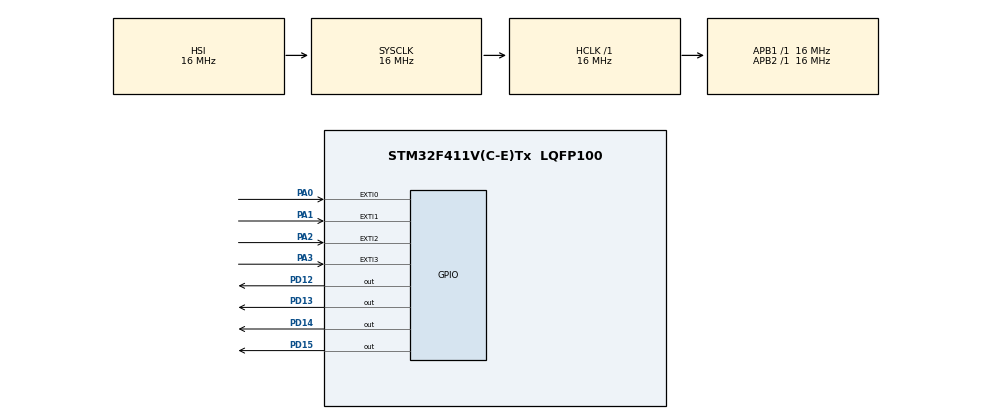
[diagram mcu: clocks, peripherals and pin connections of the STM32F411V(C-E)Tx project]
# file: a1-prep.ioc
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Mcu.Family=STM32F4
Mcu.Name=STM32F411V(C-E)Tx
Mcu.Package=LQFP100
NVIC.EXTI0_IRQn=true\:0\:0\:false\:false\:true\:true\:true
NVIC.EXTI1_IRQn=true\:0\:0\:false\:false\:true\:true\:true
NVIC.EXTI2_IRQn=true\:0\:0\:false\:false\:true\:true\:true
NVIC.EXTI3_IRQn=true\:0\:0\:false\:false\:true\:true\:true
NVIC.PriorityGroup=NVIC_PRIORITYGROUP_4
PA0-WKUP.Signal=GPXTI0
PA1.Signal=GPXTI1
PA2.Signal=GPXTI2
PA3.Signal=GPXTI3
PD12.Signal=GPIO_Output
PD13.Signal=GPIO_Output
PD14.Signal=GPIO_Output
PD15.Signal=GPIO_Output
ProjectManager.HeapSize=0x200
ProjectManager.StackSize=0x400
ProjectManager.TargetToolchain=STM32CubeIDE
RCC.AHBFreq_Value=16000000
RCC.APB1Freq_Value=16000000
RCC.APB2Freq_Value=16000000
RCC.CortexFreq_Value=16000000
RCC.HSE_VALUE=25000000
RCC.HSI_VALUE=16000000
RCC.LSE_VALUE=32768
RCC.SYSCLKFreq_VALUE=16000000
RCC.VCOOutputFreq_Value=192000000
board=custom

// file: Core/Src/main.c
/* USER CODE BEGIN Header */
/**
  ******************************************************************************
  * @file           : main.c
  * @brief          : Main program body
  ******************************************************************************
  * @attention
  *
  * <h2><center>&copy; Copyright (c) 2020 STMicroelectronics.
  * All rights reserved.</center></h2>
  *
  * This software component is licensed by ST under BSD 3-Clause license,
  * the "License"; You may not use this file except in compliance with the
  * License. You may obtain a copy of the License at:
  *                        opensource.org/licenses/BSD-3-Clause
  *
  ******************************************************************************
  */
/* USER CODE END Header */

#include "main.h"

/* USER CODE BEGIN Includes */
#include <stdint.h>
/* USER CODE END Includes */

/* USER CODE BEGIN PD */
#define GPIOA_MODER *((uint32_t*)0x40020000)
#define GPIOD_MODER *((uint32_t*)0x40020c00)
/* USER CODE END PD */

void SystemClock_Config(void);
static void MX_GPIO_Init(void);
/* USER CODE BEGIN PFP */
void toggleBitInODR(uint32_t* base_adress, int bitPos);
uint32_t readBitInReg(uint32_t* reg_adress, int bitPos);
/* USER CODE END PFP */

/* USER CODE BEGIN 0 */

void toggleBitInODR(uint32_t* base_adress, int bitPos)
{
	uint32_t* write_adress = base_adress + 5;
	*write_adress = *(write_adress) ^ (1 << bitPos);
}

uint32_t readBitInReg(uint32_t* reg_adress, int bitPos)
{
	uint32_t bit = (*(reg_adress) >> bitPos) & 0b1;
	return bit;
}

void HAL_GPIO_EXTI_Callback(uint16_t GPIO_Pin)
{
 /* Prevent unused argument(s) compilation warning */
 UNUSED(GPIO_Pin);
 /* NOTE: This function Should not be modified, when the callback is needed,
          the HAL_GPIO_EXTI_Callback could be implemented in the user file
  */

 	 if (GPIO_Pin == GPIO_PIN_0) {
 		 HAL_GPIO_TogglePin(GPIOD, GPIO_PIN_12);
 	 }
 	 else if (GPIO_Pin == GPIO_PIN_1) { // switch off all leds
 		 uint32_t* write_adress = &GPIOD_MODER;
 		 write_adress = write_adress + 5;
 		 *write_adress = *(write_adress) & ~0x0000F000;
 		 //(GPIOD_MODER+5) = (GPIOD_MODER+5) & ~0x0000F000;
 	 }
 	 else if (GPIO_Pin == GPIO_PIN_2) { // turn on all leds
 		 uint32_t* write_adress = &GPIOD_MODER + 5;
 		 *write_adress = *write_adress | 0x0000F000;
 	 }
}

/* USER CODE END 0 */

int main(void)
{

  /* MCU Configuration--------------------------------------------------------*/

  /* Reset of all peripherals, Initializes the Flash interface and the Systick. */
  HAL_Init();

  /* Configure the system clock */
  SystemClock_Config();

  /* Initialize all configured peripherals */
  MX_GPIO_Init();
  /* USER CODE BEGIN 2 */
  // Set the values of a pin
  asm("	LDR r0, =0x40020c14");
  asm("	LDR r1, [r0]");
  asm(" BIC r1, r1, #0x0000F000");
  asm(" ORR r1, r1, #0x0000F000");
  asm(" STR r1, [r0]");
  toggleBitInODR((uint32_t*) GPIOD_BASE, 13);

  // Read the state of a pin
  asm (" LDR r2, =0x40020c14");
  asm (" LDR r3, [r2]"); // read the entire 16-bit port
  asm (" LSR r3, r3, #12"); // move bit 4 to least-significant position
  asm (" AND r3, r3, #1"); // clear all bits except least significant bit

  uint32_t pd12 = readBitInReg((uint32_t*)(GPIOD_BASE + 0x14), 12);

  // ITTE test
  asm (" LDR r2, =0x40020c14");
  asm (" LDR r3, [r2]");
  asm (" MOV r4, #0"); // 1 for on and any other value for off
  asm (" CMP r4, #1");
  asm (" ITE NE");
  asm (" ANDNE r3, r3, #0xFFFF0FFF"); // Turn off leds
  asm (" ORREQ r3, r3, #0x0000F000"); // Turn on leds
  asm (" STR r3, [r2]");

  /* USER CODE END 2 */

  /* Infinite loop */
  while (1)
  {

  }
}

void SystemClock_Config(void)
{
  RCC_OscInitTypeDef RCC_OscInitStruct = {0};
  RCC_ClkInitTypeDef RCC_ClkInitStruct = {0};

  /** Configure the main internal regulator output voltage
  */
  __HAL_RCC_PWR_CLK_ENABLE();
  __HAL_PWR_VOLTAGESCALING_CONFIG(PWR_REGULATOR_VOLTAGE_SCALE1);
  /** Initializes the CPU, AHB and APB busses clocks
  */
  RCC_OscInitStruct.OscillatorType = RCC_OSCILLATORTYPE_HSI;
  RCC_OscInitStruct.HSIState = RCC_HSI_ON;
  RCC_OscInitStruct.HSICalibrationValue = RCC_HSICALIBRATION_DEFAULT;
  RCC_OscInitStruct.PLL.PLLState = RCC_PLL_NONE;
  if (HAL_RCC_OscConfig(&RCC_OscInitStruct) != HAL_OK)
  {
    Error_Handler();
  }
  /** Initializes the CPU, AHB and APB busses clocks
  */
  RCC_ClkInitStruct.ClockType = RCC_CLOCKTYPE_HCLK|RCC_CLOCKTYPE_SYSCLK
                              |RCC_CLOCKTYPE_PCLK1|RCC_CLOCKTYPE_PCLK2;
  RCC_ClkInitStruct.SYSCLKSource = RCC_SYSCLKSOURCE_HSI;
  RCC_ClkInitStruct.AHBCLKDivider = RCC_SYSCLK_DIV1;
  RCC_ClkInitStruct.APB1CLKDivider = RCC_HCLK_DIV1;
  RCC_ClkInitStruct.APB2CLKDivider = RCC_HCLK_DIV1;

  if (HAL_RCC_ClockConfig(&RCC_ClkInitStruct, FLASH_LATENCY_0) != HAL_OK)
  {
    Error_Handler();
  }
}

static void MX_GPIO_Init(void)
{
  GPIO_InitTypeDef GPIO_InitStruct = {0};

  /* GPIO Ports Clock Enable */
  __HAL_RCC_GPIOA_CLK_ENABLE();
  __HAL_RCC_GPIOD_CLK_ENABLE();

  /*Configure GPIO pin Output Level */
  HAL_GPIO_WritePin(GPIOD, GPIO_PIN_12|GPIO_PIN_13|GPIO_PIN_14|GPIO_PIN_15, GPIO_PIN_RESET);

  /*Configure GPIO pins : PA0 PA1 PA2 PA3 */
  GPIO_InitStruct.Pin = GPIO_PIN_0|GPIO_PIN_1|GPIO_PIN_2|GPIO_PIN_3;
  GPIO_InitStruct.Mode = GPIO_MODE_IT_RISING;
  GPIO_InitStruct.Pull = GPIO_NOPULL;
  HAL_GPIO_Init(GPIOA, &GPIO_InitStruct);

  /*Configure GPIO pins : PD12 PD13 PD14 PD15 */
  GPIO_InitStruct.Pin = GPIO_PIN_12|GPIO_PIN_13|GPIO_PIN_14|GPIO_PIN_15;
  GPIO_InitStruct.Mode = GPIO_MODE_OUTPUT_PP;
  GPIO_InitStruct.Pull = GPIO_NOPULL;
  GPIO_InitStruct.Speed = GPIO_SPEED_FREQ_LOW;
  HAL_GPIO_Init(GPIOD, &GPIO_InitStruct);

  /* EXTI interrupt init*/
  HAL_NVIC_SetPriority(EXTI0_IRQn, 0, 0);
  HAL_NVIC_EnableIRQ(EXTI0_IRQn);

  HAL_NVIC_SetPriority(EXTI1_IRQn, 0, 0);
  HAL_NVIC_EnableIRQ(EXTI1_IRQn);

  HAL_NVIC_SetPriority(EXTI2_IRQn, 0, 0);
  HAL_NVIC_EnableIRQ(EXTI2_IRQn);

  HAL_NVIC_SetPriority(EXTI3_IRQn, 0, 0);
  HAL_NVIC_EnableIRQ(EXTI3_IRQn);

}

void Error_Handler(void)
{
}

/************************ (C) COPYRIGHT STMicroelectronics *****END OF FILE****/
